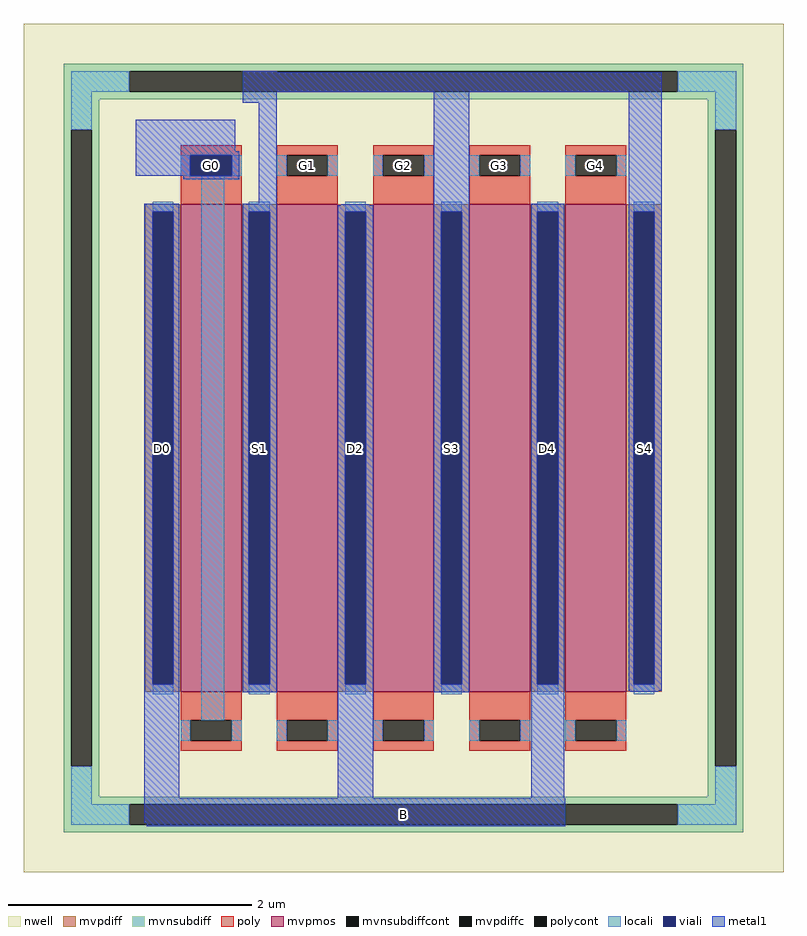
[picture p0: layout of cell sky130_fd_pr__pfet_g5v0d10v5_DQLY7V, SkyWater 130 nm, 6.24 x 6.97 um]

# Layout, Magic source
magic
tech sky130A
magscale 1 2
<< nwell >>
rect -624 -697 624 697
<< mvpmos >>
rect -366 -400 -266 400
rect -208 -400 -108 400
rect -50 -400 50 400
rect 108 -400 208 400
rect 266 -400 366 400
<< mvpdiff >>
rect -424 388 -366 400
rect -424 -388 -412 388
rect -378 -388 -366 388
rect -424 -400 -366 -388
rect -266 388 -208 400
rect -266 -388 -254 388
rect -220 -388 -208 388
rect -266 -400 -208 -388
rect -108 388 -50 400
rect -108 -388 -96 388
rect -62 -388 -50 388
rect -108 -400 -50 -388
rect 50 388 108 400
rect 50 -388 62 388
rect 96 -388 108 388
rect 50 -400 108 -388
rect 208 388 266 400
rect 208 -388 220 388
rect 254 -388 266 388
rect 208 -400 266 -388
rect 366 388 424 400
rect 366 -388 378 388
rect 412 -388 424 388
rect 366 -400 424 -388
<< mvpdiffc >>
rect -412 -388 -378 388
rect -254 -388 -220 388
rect -96 -388 -62 388
rect 62 -388 96 388
rect 220 -388 254 388
rect 378 -388 412 388
<< mvnsubdiff >>
rect -558 619 558 631
rect -558 585 -450 619
rect 450 585 558 619
rect -558 573 558 585
rect -558 523 -500 573
rect -558 -523 -546 523
rect -512 -523 -500 523
rect 500 523 558 573
rect -558 -573 -500 -523
rect 500 -523 512 523
rect 546 -523 558 523
rect 500 -573 558 -523
rect -558 -585 558 -573
rect -558 -619 -450 -585
rect 450 -619 558 -585
rect -558 -631 558 -619
<< mvnsubdiffcont >>
rect -450 585 450 619
rect -546 -523 -512 523
rect 512 -523 546 523
rect -450 -619 450 -585
<< poly >>
rect -366 481 -266 497
rect -366 447 -350 481
rect -282 447 -266 481
rect -366 400 -266 447
rect -208 481 -108 497
rect -208 447 -192 481
rect -124 447 -108 481
rect -208 400 -108 447
rect -50 481 50 497
rect -50 447 -34 481
rect 34 447 50 481
rect -50 400 50 447
rect 108 481 208 497
rect 108 447 124 481
rect 192 447 208 481
rect 108 400 208 447
rect 266 481 366 497
rect 266 447 282 481
rect 350 447 366 481
rect 266 400 366 447
rect -366 -447 -266 -400
rect -366 -481 -350 -447
rect -282 -481 -266 -447
rect -366 -497 -266 -481
rect -208 -447 -108 -400
rect -208 -481 -192 -447
rect -124 -481 -108 -447
rect -208 -497 -108 -481
rect -50 -447 50 -400
rect -50 -481 -34 -447
rect 34 -481 50 -447
rect -50 -497 50 -481
rect 108 -447 208 -400
rect 108 -481 124 -447
rect 192 -481 208 -447
rect 108 -497 208 -481
rect 266 -447 366 -400
rect 266 -481 282 -447
rect 350 -481 366 -447
rect 266 -497 366 -481
<< polycont >>
rect -350 447 -282 481
rect -192 447 -124 481
rect -34 447 34 481
rect 124 447 192 481
rect 282 447 350 481
rect -350 -481 -282 -447
rect -192 -481 -124 -447
rect -34 -481 34 -447
rect 124 -481 192 -447
rect 282 -481 350 -447
<< locali >>
rect -546 585 -450 619
rect 450 585 546 619
rect -546 523 -512 585
rect 512 523 546 585
rect -366 447 -350 481
rect -282 447 -266 481
rect -208 447 -192 481
rect -124 447 -108 481
rect -50 447 -34 481
rect 34 447 50 481
rect 108 447 124 481
rect 192 447 208 481
rect 266 447 282 481
rect 350 447 366 481
rect -412 388 -378 404
rect -412 -404 -378 -388
rect -332 -447 -294 447
rect -254 388 -220 404
rect -254 -404 -220 -388
rect -96 388 -62 404
rect -96 -404 -62 -388
rect 62 388 96 404
rect 62 -404 96 -388
rect 220 388 254 404
rect 220 -404 254 -388
rect 378 388 412 404
rect 378 -404 412 -388
rect -366 -481 -350 -447
rect -282 -481 -266 -447
rect -208 -481 -192 -447
rect -124 -481 -108 -447
rect -50 -481 -34 -447
rect 34 -481 50 -447
rect 108 -481 124 -447
rect 192 -481 208 -447
rect 266 -481 282 -447
rect 350 -481 366 -447
rect -546 -585 -512 -523
rect 512 -585 546 -523
rect -546 -619 -450 -585
rect 450 -619 546 -585
<< viali >>
rect -350 447 -282 481
rect -412 -388 -378 388
rect -254 -388 -220 388
rect -96 -388 -62 388
rect 62 -388 96 388
rect 220 -388 254 388
rect 378 -388 412 388
<< metal1 >>
rect -264 617 -208 619
rect -264 585 424 617
rect -264 567 -208 585
rect -440 487 -276 539
rect -440 481 -270 487
rect -440 447 -350 481
rect -282 447 -270 481
rect -362 441 -270 447
rect -238 401 -208 567
rect -426 388 -368 401
rect -426 -388 -412 388
rect -378 -388 -368 388
rect -426 -575 -368 -388
rect -264 388 -208 401
rect -102 399 -56 400
rect -264 -388 -254 388
rect -220 -388 -208 388
rect -264 -401 -208 -388
rect -108 388 -50 399
rect -108 -388 -96 388
rect -62 -388 -50 388
rect -108 -575 -50 -388
rect 50 388 108 585
rect 50 -388 62 388
rect 96 -388 108 388
rect 50 -401 108 -388
rect 210 388 264 401
rect 210 -388 220 388
rect 254 -388 264 388
rect 210 -575 264 -388
rect 370 388 424 585
rect 370 -388 378 388
rect 412 -388 424 388
rect 370 -399 424 -388
rect 372 -400 418 -399
rect -426 -615 266 -575
rect -422 -621 266 -615
<< labels >>
rlabel mvnsubdiffcont 0 -602 0 -602 0 B
port 1 nsew
rlabel mvpdiffc -395 0 -395 0 0 D0
port 2 nsew
rlabel polycont -316 464 -316 464 0 G0
port 3 nsew
rlabel mvpdiffc -237 0 -237 0 0 S1
port 4 nsew
rlabel polycont -158 464 -158 464 0 G1
port 5 nsew
rlabel mvpdiffc -79 0 -79 0 0 D2
port 6 nsew
rlabel polycont 0 464 0 464 0 G2
port 7 nsew
rlabel mvpdiffc 79 0 79 0 0 S3
port 8 nsew
rlabel polycont 158 464 158 464 0 G3
port 9 nsew
rlabel mvpdiffc 237 0 237 0 0 D4
port 10 nsew
rlabel mvpdiffc 395 0 395 0 0 S4
port 11 nsew
rlabel polycont 316 464 316 464 0 G4
port 12 nsew
<< properties >>
string FIXED_BBOX -529 -602 529 602
string gencell sky130_fd_pr__pfet_g5v0d10v5
string library sky130
string parameters w 4 l 0.5 m 1 nf 5 diffcov 100 polycov 100 guard 1 glc 1 grc 1 gtc 1 gbc 1 tbcov 100 rlcov 100 topc 1 botc 1 poverlap 0 doverlap 1 lmin 0.50 wmin 0.42 class mosfet compatible {sky130_fd_pr__pfet_01v8  sky130_fd_pr__pfet_01v8_lvt sky130_fd_pr__pfet_01v8_hvt  sky130_fd_pr__pfet_g5v0d10v5} full_metal 1 conn_gates 0 viasrc 100 viadrn 100 viagate 100 viagb 0 viagr 0 viagl 0 viagt 0 doports 1
<< end >>
